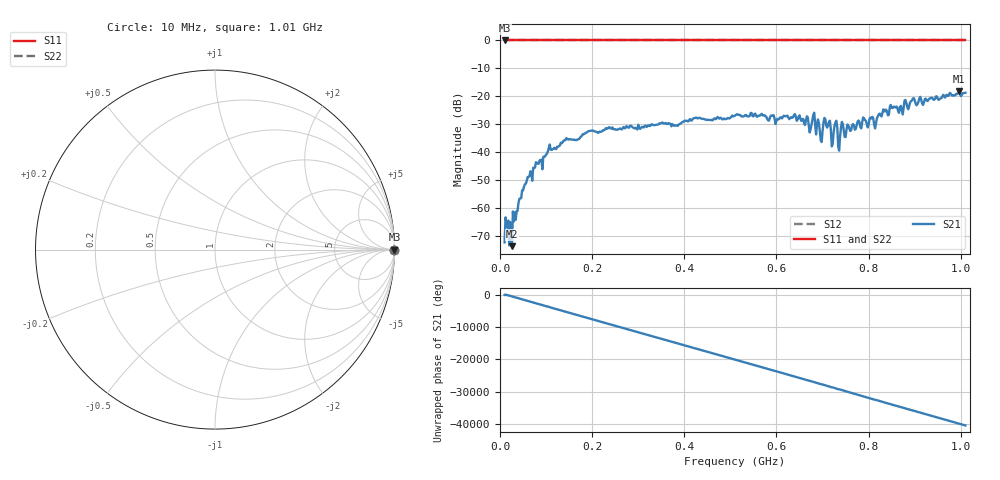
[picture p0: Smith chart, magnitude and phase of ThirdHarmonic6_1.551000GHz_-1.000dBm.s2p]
! 8/16/2025 6:24:50 PM
! C:\ANRITSUVNA\TEMP\TEMP.S2P
! CHANNEL.1
! TR.MEASUREMENT
! RAW.DATA
! RF.CORRECTION.OFF
! AVERAGING.OFF
! IF.BANDWIDTH: 5KHZ
! SWEEPTYPE:  FREQ.SWEEP(Linear)
! Reference Plane Port Info
! PORT:  PORT1  PORT2
! DISTANCE:  0  m  0  m
! TIME:  0  s  0  s
! PHASE.OFFSET:  0  deg.  0  deg.
! LOSS:  0  dB  0  dB
! REF.LOSS:  0  dB  0  dB
! REF.FREQ:  0  Hz  0  Hz
! Power Info
! POWER:  -20  dBm  -20  dBm
! EFF.POWER:  -20  dBm  -20  dBm
! SOURCE.ATTEN:  0  dB  0  dB
! TEST.ATTEN:  0  dB  0  dB
# GHZ S RI R 50.0
! FREQ.GHZ  S11RE  S11IM  S21RE  S21IM  S12RE  S12IM  S22RE  S22IM
!; PortSelection: Port_12
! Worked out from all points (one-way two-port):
!   501 points, 10 MHz to 1.01 GHz, reference 50 ohm
!   highest |S21| = -18.30 dB at 996 MHz (marker M1); lowest = -73.8 dB at 26 MHz (marker M2)
!   lowest |S11| = 0.0 dB at 10 MHz (marker M3)
!   |S11| at or under -10 dB: nowhere
!   |S22| runs from 0.0 to 0.0 dB; largest |S21 - S12| = 1.1
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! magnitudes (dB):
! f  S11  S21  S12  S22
! 10 MHz  0.0  -72.5  0.0  0.0
! 14 MHz  0.0  -65.4  0.0  0.0
! 26 MHz  0.0  -73.8  0.0  0.0
! 52 MHz  0.0  -52.5  0.0  0.0
! 76 MHz  0.0  -45.6  0.0  0.0
! 108 MHz  0.0  -37.3  0.0  0.0
! 178 MHz  0.0  -34.1  0.0  0.0
! 344 MHz  0.0  -30.1  0.0  0.0
! 510 MHz  0.0  -27.0  0.0  0.0
! 638 MHz  0.0  -26.8  0.0  0.0
! 674 MHz  0.0  -31.8  0.0  0.0
! 678 MHz  0.0  -28.4  0.0  0.0
! 696 MHz  0.0  -35.7  0.0  0.0
! 706 MHz  0.0  -28.2  0.0  0.0
! 722 MHz  0.0  -37.2  0.0  0.0
! 728 MHz  0.0  -29.4  0.0  0.0
! 736 MHz  0.0  -39.5  0.0  0.0
! 742 MHz  0.0  -29.2  0.0  0.0
! 814 MHz  0.0  -31.6  0.0  0.0
! 844 MHz  0.0  -26.6  0.0  0.0
! 996 MHz  0.0  -18.3  0.0  0.0
! 1.01 GHz  0.0  -18.8  0.0  0.0
